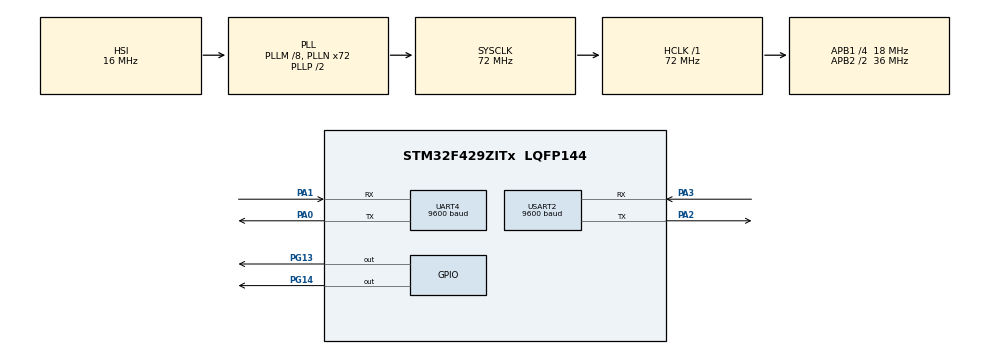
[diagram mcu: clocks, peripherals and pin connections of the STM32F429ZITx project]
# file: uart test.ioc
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Mcu.Family=STM32F4
Mcu.Name=STM32F429ZITx
Mcu.Package=LQFP144
Mcu.UserConstants=out,1
NVIC.PriorityGroup=NVIC_PRIORITYGROUP_4
NVIC.TIM1_UP_TIM10_IRQn=true\:0\:0\:false\:false\:true\:false\:true
NVIC.TimeBase=TIM1_UP_TIM10_IRQn
NVIC.TimeBaseIP=TIM1
NVIC.UART4_IRQn=true\:0\:0\:false\:false\:true\:true\:true
NVIC.USART2_IRQn=true\:0\:0\:false\:false\:true\:true\:true
PA0/WKUP.Mode=Asynchronous
PA0/WKUP.Signal=UART4_TX
PA1.Mode=Asynchronous
PA1.Signal=UART4_RX
PA2.Mode=Asynchronous
PA2.Signal=USART2_TX
PA3.Mode=Asynchronous
PA3.Signal=USART2_RX
PG13.Signal=GPIO_Output
PG14.Signal=GPIO_Output
ProjectManager.HeapSize=0x200
ProjectManager.StackSize=0x400
ProjectManager.TargetToolchain=MDK-ARM V5
RCC.48MHZClocksFreq_Value=48000000
RCC.AHBFreq_Value=72000000
RCC.APB1CLKDivider=RCC_HCLK_DIV4
RCC.APB1Freq_Value=18000000
RCC.APB1TimFreq_Value=36000000
RCC.APB2CLKDivider=RCC_HCLK_DIV2
RCC.APB2Freq_Value=36000000
RCC.APB2TimFreq_Value=72000000
RCC.CortexFreq_Value=72000000
RCC.HCLKFreq_Value=72000000
RCC.HSE_VALUE=8000000
RCC.HSI_VALUE=16000000
RCC.LSE_VALUE=32768
RCC.PLLM=8
RCC.PLLN=72
RCC.PLLQ=3
RCC.PLLSAIN=50
RCC.SYSCLKFreq_VALUE=72000000
RCC.SYSCLKSource=RCC_SYSCLKSOURCE_PLLCLK
RCC.VCOOutputFreq_Value=144000000
UART4.BaudRate=9600
UART4.VirtualMode=Asynchronous
USART2.BaudRate=9600
USART2.VirtualMode=VM_ASYNC
VP_SYS_VS_tim1.Mode=TIM1
board=STM32F429I-DISC1

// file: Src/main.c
/* USER CODE BEGIN Header */
/**
  ******************************************************************************
  * @file           : main.c
  * @brief          : Main program body
  ******************************************************************************
  * @attention
  *
  * <h2><center>&copy; Copyright (c) 2020 STMicroelectronics.
  * All rights reserved.</center></h2>
  *
  * This software component is licensed by ST under BSD 3-Clause license,
  * the "License"; You may not use this file except in compliance with the
  * License. You may obtain a copy of the License at:
  *                        opensource.org/licenses/BSD-3-Clause
  *
  ******************************************************************************
  */
/* USER CODE END Header */

#include "main.h"
#include "string.h"
#include <stdio.h>
#include <stdlib.h>

UART_HandleTypeDef huart4;
UART_HandleTypeDef huart2;

/* USER CODE BEGIN PV */
	uint8_t data[]="pp";
	uint8_t count=0;
	uint8_t buffer[1];
	uint8_t rx_in[20];
//uint8_t input_buffer[7],read_spot=0,array_size,request_id1,request_id2,request_id3,request_id4,request_id5;
//uint8_t buffer[1],previous_id,INFORMATION,CLAW_STATUS,ARM_STATUS,SHOULDER_STATUS,WRIST_STATUS,input_byte,speed1,speed2,previous_id2;

/* USER CODE END PV */

void SystemClock_Config(void);
static void MX_GPIO_Init(void);
void MX_UART4_Init(void);
void MX_USART2_UART_Init(void);
void str_break(void);
/* USER CODE BEGIN PFP */
//uint8_t request_id1,request_id2,request_id3,request_id4,request_id5;
void HAL_UART_RxCpltCallback(UART_HandleTypeDef *huart)
{

static uint8_t buffer[1],INFORMATION,input_byte,read_spot;
char input_buffer[15],send_str[15];

		HAL_UART_Receive_IT(&huart2, buffer,1);
		input_byte= buffer[0];//move recieved byte to variable input_byte
			if(input_byte==0x41)
			{
				INFORMATION=1;

			}

			if(INFORMATION==1)
			{
			input_buffer[read_spot]=input_byte;
			read_spot++;
			}

				if(input_byte==0x42)
			{
			/*
			request_id1=input_buffer[1];
			request_id2=input_buffer[2];
			request_id3=input_buffer[3];
			request_id4=input_buffer[4];
      request_id5=input_buffer[5];
			*/
	//	HAL_UART_Transmit(&huart4,(uint8_t *)input_buffer,read_spot,1000);

	strcpy(send_str, input_buffer);

  split_data(send_str,read_spot);

	read_spot=0;

			}

	}

/* USER CODE END PFP */

/* USER CODE BEGIN 0 */

 void split_data( char R_buffer[15],uint8_t space)
	{

int init_size = strlen((char *)R_buffer);
	char delim[] = ",";
  char* a2[strlen((char *)R_buffer)];
	char* ptr = strtok((char *)R_buffer, delim);
  int i=0;
	while(ptr != NULL)
	{
    a2[i]=ptr;
		ptr = strtok(NULL, delim);
		i++;
	}
uint8_t	y = atoi(a2[1]);
uint8_t	z = atoi(a2[2]);

batt_val(z);

	}

	void send_data(char func[5],char val[2])
	{
     char str_bit[] = "A";
     char stp_bit[] = "B";
     char func_name[5];
     char func_val[2];
     char str[15]="";
	strcpy(func_name, func);
	strcpy(func_val, val);

    sprintf(str,"%s,%s,%s,%s",str_bit,func_name,func_val,stp_bit);
 		HAL_UART_Transmit(&huart4,(uint8_t *) str,sizeof(str),1000);

}
void batt_val(int val)
	{
		char dum_func[5]="vtti";
char dum_val[5]="56";
	if(val==62)
			{
			HAL_GPIO_TogglePin(GPIOG,GPIO_PIN_14);
			send_data(dum_func,dum_val);

	}
	else if (val==73)
	{
			HAL_GPIO_TogglePin(GPIOG,GPIO_PIN_13);
			send_data(dum_func,dum_val);

	}
}

/* USER CODE END 0 */

int main(void)
{

  /* MCU Configuration--------------------------------------------------------*/

  /* Reset of all peripherals, Initializes the Flash interface and the Systick. */
  HAL_Init();

  /* Configure the system clock */
  SystemClock_Config();

  /* Initialize all configured peripherals */
  MX_GPIO_Init();
  MX_UART4_Init();
  MX_USART2_UART_Init();
  /* USER CODE BEGIN 2 */
  HAL_UART_Receive_IT(&huart2, buffer, sizeof (buffer));

  /* USER CODE END 2 */

  /* Infinite loop */
  while (1)
  {

    /* USER CODE BEGIN 3 */
//		HAL_UART_Receive(&huart2, buffer,16,1000);
//		HAL_GPIO_TogglePin(GPIOG,GPIO_PIN_14);
//		HAL_Delay(250);
//		HAL_UART_Transmit(&huart4, buffer,sizeof(buffer),1000);

  }
  /* USER CODE END 3 */
}

void SystemClock_Config(void)
{
  RCC_OscInitTypeDef RCC_OscInitStruct = {0};
  RCC_ClkInitTypeDef RCC_ClkInitStruct = {0};

  /** Configure the main internal regulator output voltage
  */
  __HAL_RCC_PWR_CLK_ENABLE();
  __HAL_PWR_VOLTAGESCALING_CONFIG(PWR_REGULATOR_VOLTAGE_SCALE3);
  /** Initializes the CPU, AHB and APB busses clocks
  */
  RCC_OscInitStruct.OscillatorType = RCC_OSCILLATORTYPE_HSI;
  RCC_OscInitStruct.HSIState = RCC_HSI_ON;
  RCC_OscInitStruct.HSICalibrationValue = RCC_HSICALIBRATION_DEFAULT;
  RCC_OscInitStruct.PLL.PLLState = RCC_PLL_ON;
  RCC_OscInitStruct.PLL.PLLSource = RCC_PLLSOURCE_HSI;
  RCC_OscInitStruct.PLL.PLLM = 8;
  RCC_OscInitStruct.PLL.PLLN = 72;
  RCC_OscInitStruct.PLL.PLLP = RCC_PLLP_DIV2;
  RCC_OscInitStruct.PLL.PLLQ = 3;
  if (HAL_RCC_OscConfig(&RCC_OscInitStruct) != HAL_OK)
  {
    Error_Handler();
  }
  /** Initializes the CPU, AHB and APB busses clocks
  */
  RCC_ClkInitStruct.ClockType = RCC_CLOCKTYPE_HCLK|RCC_CLOCKTYPE_SYSCLK
                              |RCC_CLOCKTYPE_PCLK1|RCC_CLOCKTYPE_PCLK2;
  RCC_ClkInitStruct.SYSCLKSource = RCC_SYSCLKSOURCE_PLLCLK;
  RCC_ClkInitStruct.AHBCLKDivider = RCC_SYSCLK_DIV1;
  RCC_ClkInitStruct.APB1CLKDivider = RCC_HCLK_DIV4;
  RCC_ClkInitStruct.APB2CLKDivider = RCC_HCLK_DIV2;

  if (HAL_RCC_ClockConfig(&RCC_ClkInitStruct, FLASH_LATENCY_2) != HAL_OK)
  {
    Error_Handler();
  }
}

static void MX_UART4_Init(void)
{

  huart4.Instance = UART4;
  huart4.Init.BaudRate = 9600;
  huart4.Init.WordLength = UART_WORDLENGTH_8B;
  huart4.Init.StopBits = UART_STOPBITS_1;
  huart4.Init.Parity = UART_PARITY_NONE;
  huart4.Init.Mode = UART_MODE_TX_RX;
  huart4.Init.HwFlowCtl = UART_HWCONTROL_NONE;
  huart4.Init.OverSampling = UART_OVERSAMPLING_16;
  if (HAL_UART_Init(&huart4) != HAL_OK)
  {
    Error_Handler();
  }

}

static void MX_USART2_UART_Init(void)
{

  huart2.Instance = USART2;
  huart2.Init.BaudRate = 9600;
  huart2.Init.WordLength = UART_WORDLENGTH_8B;
  huart2.Init.StopBits = UART_STOPBITS_1;
  huart2.Init.Parity = UART_PARITY_NONE;
  huart2.Init.Mode = UART_MODE_TX_RX;
  huart2.Init.HwFlowCtl = UART_HWCONTROL_NONE;
  huart2.Init.OverSampling = UART_OVERSAMPLING_16;
  if (HAL_UART_Init(&huart2) != HAL_OK)
  {
    Error_Handler();
  }

}

static void MX_GPIO_Init(void)
{
  GPIO_InitTypeDef GPIO_InitStruct = {0};

  /* GPIO Ports Clock Enable */
  __HAL_RCC_GPIOA_CLK_ENABLE();
  __HAL_RCC_GPIOG_CLK_ENABLE();

  /*Configure GPIO pin Output Level */
  HAL_GPIO_WritePin(GPIOG, GPIO_PIN_13|GPIO_PIN_14, GPIO_PIN_RESET);

  /*Configure GPIO pins : PG13 PG14 */
  GPIO_InitStruct.Pin = GPIO_PIN_13|GPIO_PIN_14;
  GPIO_InitStruct.Mode = GPIO_MODE_OUTPUT_PP;
  GPIO_InitStruct.Pull = GPIO_NOPULL;
  GPIO_InitStruct.Speed = GPIO_SPEED_FREQ_LOW;
  HAL_GPIO_Init(GPIOG, &GPIO_InitStruct);

}

 /**
  * @brief  Period elapsed callback in non blocking mode
  * @note   This function is called  when TIM1 interrupt took place, inside
  * HAL_TIM_IRQHandler(). It makes a direct call to HAL_IncTick() to increment
  * a global variable "uwTick" used as application time base.
  * @param  htim : TIM handle
  * @retval None
  */
void HAL_TIM_PeriodElapsedCallback(TIM_HandleTypeDef *htim)
{
  if (htim->Instance == TIM1) {
    HAL_IncTick();
  }
}

void Error_Handler(void)
{
}

/************************ (C) COPYRIGHT STMicroelectronics *****END OF FILE****/
